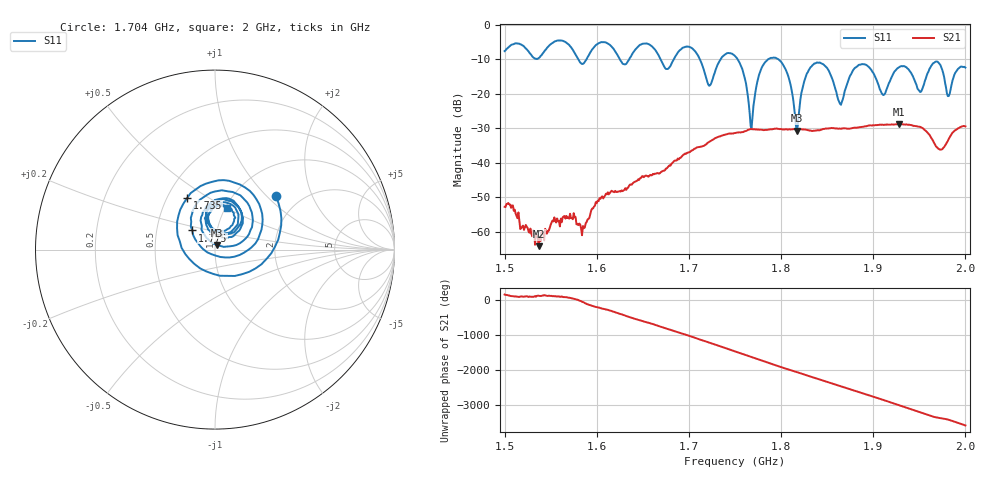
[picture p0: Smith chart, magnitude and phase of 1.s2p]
! NanoVNA-App by SYSJOINT et al v1.1.209 (+OD18)
! Date: 2026-01-21 14:51:53
! Start: 1,5GHz Stop: 2GHz Points: 501
! S-Parameter data: F S11 S21 S12 S22
# Hz S RI R 50
!  Frequency  S11_Real  S11_Imag  S21_Real  S21_Imag  S12_Real  S12_Imag  S22_Real  S22_Imag
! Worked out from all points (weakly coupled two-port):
!   501 points, 1.5 GHz to 2 GHz, reference 50 ohm
!   highest |S21| = -28.77 dB at 1.928 GHz (marker M1); lowest = -64.2 dB at 1.537 GHz (marker M2)
!   lowest |S11| = -30.7 dB at 1.817 GHz (marker M3), VSWR 1.06, Z = 51.2 + j2.71 ohm
!   |S11| at or under -10 dB: 1.712 GHz to 1.734 GHz (22.43 MHz wide, 1.3 % of centre); 1.753 GHz to 1.786 GHz (32.97 MHz wide, 1.86 % of centre); 1.797 GHz to end of sweep (the widest 3 of 6)
!   S12 and S22 are empty: the file has one direction only
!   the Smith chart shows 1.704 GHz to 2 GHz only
!   S11 on the Smith chart (normalised r, x): 1.704 GHz: 1.52, +1.13; 1.735 GHz: 0.63, +0.41; 1.775 GHz: 0.76, +0.17; 2 GHz: 1.01, +0.50
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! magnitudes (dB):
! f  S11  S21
! 1.5 GHz  -7.6  -52.8
! 1.537 GHz  -9.6  -64.2
! 1.561 GHz  -4.5  -56.2
! 1.584 GHz  -11.4  -61.0
! 1.667 GHz  -8.8  -43.1
! 1.704 GHz  -6.9  -36.4
! 1.722 GHz  -17.7  -33.9
! 1.735 GHz  -9.7  -32.2
! 1.75 GHz  -9.0  -31.4
! 1.767 GHz  -29.4  -30.2
! 1.775 GHz  -15.6  -30.3
! 1.799 GHz  -10.5  -30.2
! 1.817 GHz  -30.7  -30.3
! 1.834 GHz  -11.7  -30.8
! 1.864 GHz  -22.9  -30.1
! 1.886 GHz  -11.6  -29.7
! 1.917 GHz  -16.9  -28.9
! 1.928 GHz  -12.3  -28.8
! 1.951 GHz  -19.5  -29.6
! 1.97 GHz  -10.7  -35.7
! 1.982 GHz  -20.6  -33.0
! 2 GHz  -12.4  -29.5
